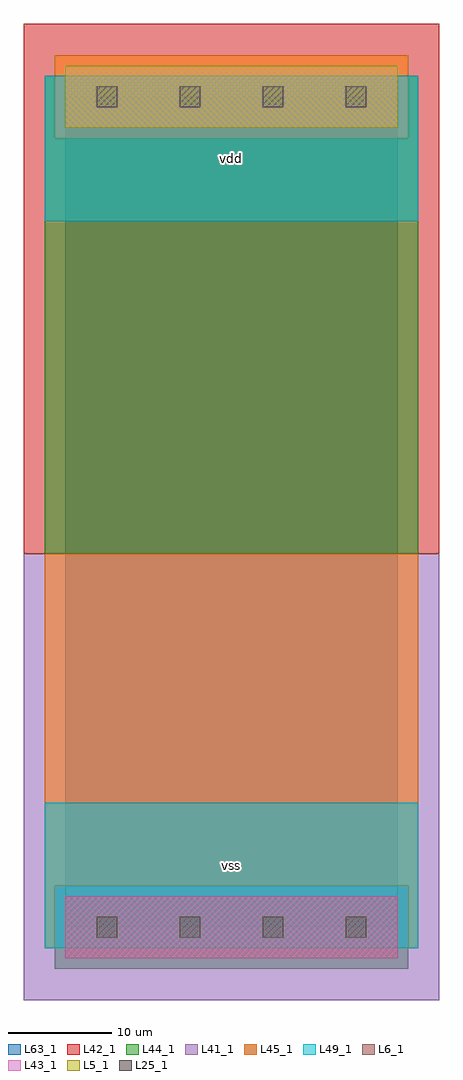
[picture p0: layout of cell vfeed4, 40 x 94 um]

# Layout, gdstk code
import gdstk
lib = gdstk.Library(unit=1e-6, precision=1e-09)
def R(c, l, rs):  # rectangles x0, y0, x1, y1
    for r in rs: c.add(gdstk.rectangle(r[:2], r[2:], *l))
def A(c, l, x, y, w, h, nx, ny, dx, dy):  # array of equal rectangles
    R(c, l, [(x+i*dx, y+j*dy, x+i*dx+w, y+j*dy+h) for i in range(nx) for j in range(ny)])
L5_1 = (5, 1)
L6_1 = (6, 1)
L25_1 = (25, 1)
L41_1 = (41, 1)
L42_1 = (42, 1)
L43_1 = (43, 1)
L44_1 = (44, 1)
L45_1 = (45, 1)
L49_1 = (49, 1)
L63_1 = (63, 1)

vfeed4 = lib.new_cell('vfeed4')
R(vfeed4, L5_1, [(0,77,32,83)])
R(vfeed4, L6_1, [(0,-3,32,3), (0,-3,32,3)])
A(vfeed4, L25_1, 3, -1, 2, 2, 4, 2, 8, 80)
R(vfeed4, L41_1, [(-4,-7,36,36)])
R(vfeed4, L42_1, [(-4,36,36,87)])
R(vfeed4, L43_1, [(0,-3,32,3), (0,77,32,83)])
R(vfeed4, L44_1, [(-1,-4,33,4), (-2,36,34,76), (-2,76,-1,82), (33,76,34,82)])
R(vfeed4, L45_1, [(-2,-2,-1,4), (33,-2,34,4), (-2,4,34,36), (-1,76,33,84)])
R(vfeed4, L49_1, [(-2,-2,34,12), (-2,68,34,82)])
R(vfeed4, L63_1, [(0,0,32,80)])
vfeed4.add(gdstk.Label('vss', (16,6), layer=49, texttype=1))
vfeed4.add(gdstk.Label('vdd', (16,74), layer=49, texttype=1))

lib.write_gds('vfeed4.gds')
